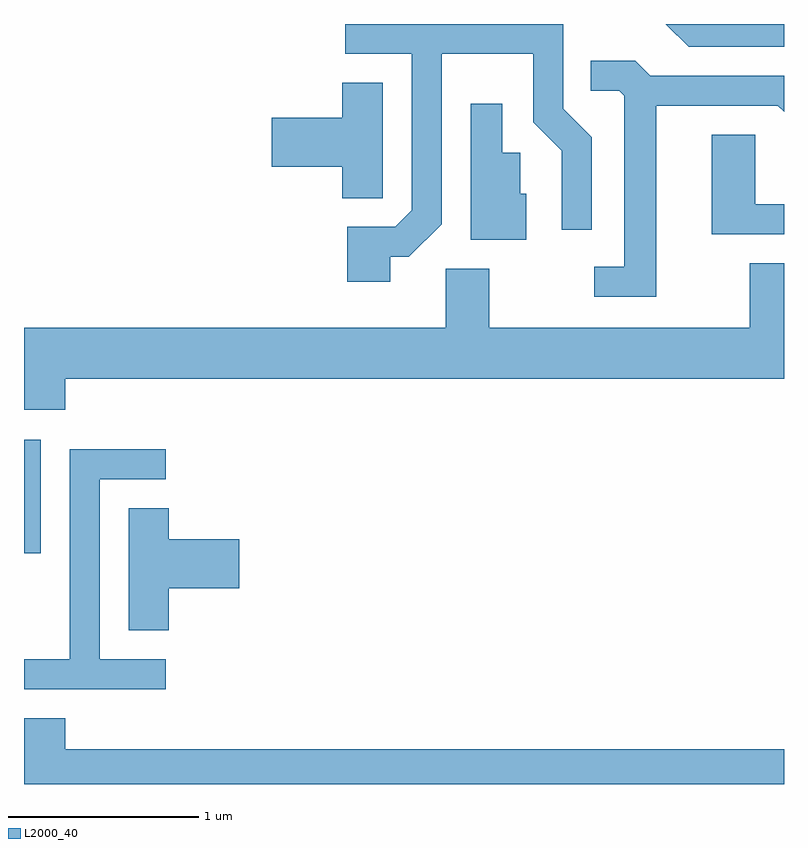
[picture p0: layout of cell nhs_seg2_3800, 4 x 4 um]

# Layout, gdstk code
import gdstk
lib = gdstk.Library(unit=1e-6, precision=1e-09)
def R(c, l, rs):  # rectangles x0, y0, x1, y1
    for r in rs: c.add(gdstk.rectangle(r[:2], r[2:], *l))
def P(c, l, *ps):  # polygons
    for p in ps: c.add(gdstk.Polygon(p, *l))
L2000_40 = (2000, 40)

nhs_seg2_3800 = lib.new_cell('nhs_seg2_3800')
R(nhs_seg2_3800, L2000_40, [(297.611,983.016,297.699,983.614)])
P(nhs_seg2_3800, L2000_40, [(299.539,984.576),(299.637,984.576),(299.809,984.749),(299.809,985.646),(300.291,985.646),(300.291,985.284),(300.441,985.134),(300.441,984.718),(300.599,984.718),(300.599,985.207),(300.449,985.357),(300.449,985.802),(299.303,985.802),(299.303,985.646),(299.651,985.646),(299.651,984.822),(299.564,984.734),(299.311,984.734),(299.311,984.446),(299.539,984.446)],
  [(301.611,985.802),(300.988,985.802),(301.109,985.681),(301.611,985.681)],
  [(300.939,985.371),(301.579,985.371),(301.611,985.339),(301.611,985.529),(300.907,985.529),(300.827,985.609),(300.593,985.609),(300.593,985.451),(300.744,985.451),(300.771,985.424),(300.771,984.524),(300.613,984.524),(300.613,984.366),(300.939,984.366)],
  [(299.499,985.494),(299.286,985.494),(299.286,985.309),(298.916,985.309),(298.916,985.051),(299.286,985.051),(299.286,984.886),(299.499,984.886)],
  [(300.254,984.909),(300.224,984.909),(300.224,985.124),(300.129,985.124),(300.129,985.383),(299.961,985.383),(299.961,984.666),(300.254,984.666)],
  [(301.611,984.854),(301.459,984.854),(301.459,985.219),(301.231,985.219),(301.231,984.696),(301.611,984.696)],
  [(297.829,983.936),(301.611,983.936),(301.611,984.544),(301.431,984.544),(301.431,984.204),(300.059,984.204),(300.059,984.514),(299.831,984.514),(299.831,984.204),(297.611,984.204),(297.611,983.771),(297.829,983.771)],
  [(298.358,982.459),(298.009,982.459),(298.009,983.406),(298.358,983.406),(298.358,983.564),(297.851,983.564),(297.851,982.459),(297.611,982.459),(297.611,982.301),(298.358,982.301)],
  [(298.374,982.831),(298.744,982.831),(298.744,983.089),(298.374,983.089),(298.374,983.254),(298.161,983.254),(298.161,982.611),(298.374,982.611)],
  [(301.611,981.984),(297.829,981.984),(297.829,982.149),(297.611,982.149),(297.611,981.802),(301.611,981.802)])

lib.write_gds('nhs_seg2_3800.gds')
